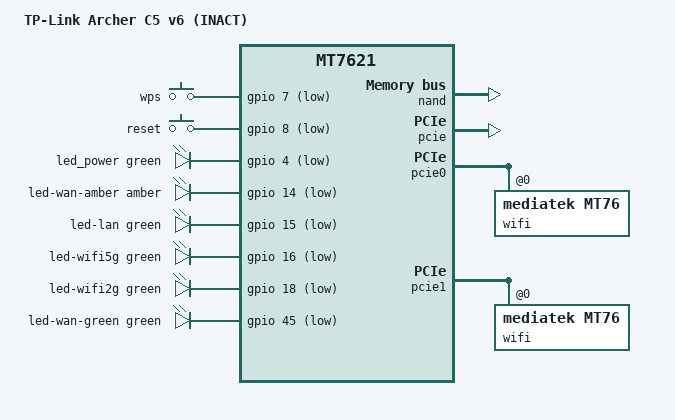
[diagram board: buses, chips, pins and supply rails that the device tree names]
// SPDX-License-Identifier: GPL-2.0-or-later OR MIT
/*
 * TP-Link Archer C5 v6, INACT variant.
 *
 * 128 MB of parallel NAND behind NMBM, with the same vendor flash layout
 * as tplink,ex220-v1-nand. The vendor firmware keeps the radio calibration
 * and MAC addresses as files in the JFFS2 misc_ro partition; mt7603 and
 * mt7615 can only read them from raw flash, so the 99_migrate_jesse_calibration
 * uci-defaults script copies them once into the factory partition below.
 */

#include "mt7621.dtsi"

#include <dt-bindings/gpio/gpio.h>
#include <dt-bindings/input/input.h>
#include <dt-bindings/leds/common.h>

/ {
	compatible = "tplink,archer-c5-v6-inact", "mediatek,mt7621-soc";
	model = "TP-Link Archer C5 v6 (INACT)";

	aliases {
		label-mac-device = &gmac0;
		led-boot = &led_power;
		led-failsafe = &led_power;
		led-running = &led_power;
		led-upgrade = &led_power;
	};

	/*
	 * The bootloader replaces bootargs with its own, including
	 * ubi.mtd=misc_isp, which stops the kernel from attaching "ubi".
	 */
	chosen {
		bootargs-override = "console=ttyS0,115200n8";
	};

	keys {
		compatible = "gpio-keys";

		button-wps {
			label = "wps";
			gpios = <&gpio 7 GPIO_ACTIVE_LOW>;
			debounce-interval = <60>;
			linux,code = <KEY_WPS_BUTTON>;
		};

		button-reset {
			label = "reset";
			gpios = <&gpio 8 GPIO_ACTIVE_LOW>;
			debounce-interval = <60>;
			linux,code = <KEY_RESTART>;
		};
	};

	leds {
		compatible = "gpio-leds";

		led_power: led-power {
			color = <LED_COLOR_ID_GREEN>;
			function = LED_FUNCTION_POWER;
			gpios = <&gpio 4 GPIO_ACTIVE_LOW>;
		};

		led-wan-amber {
			color = <LED_COLOR_ID_AMBER>;
			function = LED_FUNCTION_WAN;
			gpios = <&gpio 14 GPIO_ACTIVE_LOW>;
		};

		led-lan {
			color = <LED_COLOR_ID_GREEN>;
			function = LED_FUNCTION_LAN;
			gpios = <&gpio 15 GPIO_ACTIVE_LOW>;
		};

		led-wifi5g {
			color = <LED_COLOR_ID_GREEN>;
			function = LED_FUNCTION_WLAN;
			function-enumerator = <5>;
			gpios = <&gpio 16 GPIO_ACTIVE_LOW>;
			linux,default-trigger = "phy1tpt";
		};

		led-wifi2g {
			color = <LED_COLOR_ID_GREEN>;
			function = LED_FUNCTION_WLAN;
			function-enumerator = <2>;
			gpios = <&gpio 18 GPIO_ACTIVE_LOW>;
			linux,default-trigger = "phy0tpt";
		};

		led-wan-green {
			color = <LED_COLOR_ID_GREEN>;
			function = LED_FUNCTION_WAN;
			gpios = <&gpio 45 GPIO_ACTIVE_LOW>;
		};
	};
};

&nand {
	status = "okay";

	mediatek,nmbm;
	mediatek,bmt-remap-range = <0x0 0x7800000>;

	partitions {
		compatible = "fixed-partitions";
		#address-cells = <1>;
		#size-cells = <1>;

		partition@0 {
			label = "boot";
			reg = <0x0 0x80000>;
			read-only;
		};

		partition@80000 {
			label = "boot_env";
			reg = <0x80000 0x80000>;
		};

		partition@100000 {
			label = "misc_ro";
			reg = <0x100000 0x600000>;
			read-only;
		};

		partition@700000 {
			label = "misc_rw";
			reg = <0x700000 0x600000>;
		};

		/*
		 * The vendor firmware1 slot (0xd00000, 22 MB) is split in two:
		 * a raw kernel FIT at the start, which the bootloader loads from
		 * that fixed address, and UBI for the rest.
		 */
		partition@d00000 {
			label = "kernel";
			reg = <0xd00000 0x400000>;
		};

		partition@1100000 {
			label = "ubi";
			reg = <0x1100000 0x1200000>;
		};

		partition@2300000 {
			label = "firmware2";
			reg = <0x2300000 0x1600000>;
			read-only;
		};

		partition@3900000 {
			label = "bflag";
			reg = <0x3900000 0x600000>;
		};

		partition@3f00000 {
			label = "misc_rw_bak";
			reg = <0x3f00000 0x600000>;
		};

		partition@4500000 {
			label = "misc_isp";
			reg = <0x4500000 0x600000>;
		};

		/* Not part of the vendor layout, filled by uci-defaults */
		partition@4b00000 {
			label = "factory";
			reg = <0x4b00000 0x40000>;

			nvmem-layout {
				compatible = "fixed-layout";
				#address-cells = <1>;
				#size-cells = <1>;

				eeprom_factory_0: eeprom@0 {
					reg = <0x0 0x400>;
				};

				eeprom_factory_8000: eeprom@8000 {
					reg = <0x8000 0x4da8>;
				};

				macaddr_factory_10000: macaddr@10000 {
					compatible = "mac-base";
					reg = <0x10000 0x6>;
					#nvmem-cell-cells = <1>;
				};
			};
		};
	};
};

&pcie {
	status = "okay";
};

&pcie0 {
	wifi@0,0 {
		compatible = "mediatek,mt76";
		reg = <0x0000 0 0 0 0>;
		nvmem-cells = <&eeprom_factory_0>, <&macaddr_factory_10000 0>;
		nvmem-cell-names = "eeprom", "mac-address";
		ieee80211-freq-limit = <2400000 2500000>;
	};
};

&pcie1 {
	wifi@0,0 {
		compatible = "mediatek,mt76";
		reg = <0x0000 0 0 0 0>;
		nvmem-cells = <&eeprom_factory_8000>, <&macaddr_factory_10000 2>;
		nvmem-cell-names = "eeprom", "mac-address";
		ieee80211-freq-limit = <5000000 6000000>;
	};
};

&gmac0 {
	nvmem-cells = <&macaddr_factory_10000 0>;
	nvmem-cell-names = "mac-address";
};

&switch0 {
	ports {
		port@0 {
			status = "okay";
			label = "wan";
		};

		port@1 {
			status = "okay";
			label = "lan1";
		};

		port@2 {
			status = "okay";
			label = "lan2";
		};

		port@3 {
			status = "okay";
			label = "lan3";
		};

		port@4 {
			status = "okay";
			label = "lan4";
		};
	};
};

&state_default {
	gpio {
		groups = "i2c", "uart3", "jtag", "wdt";
		function = "gpio";
	};
};
